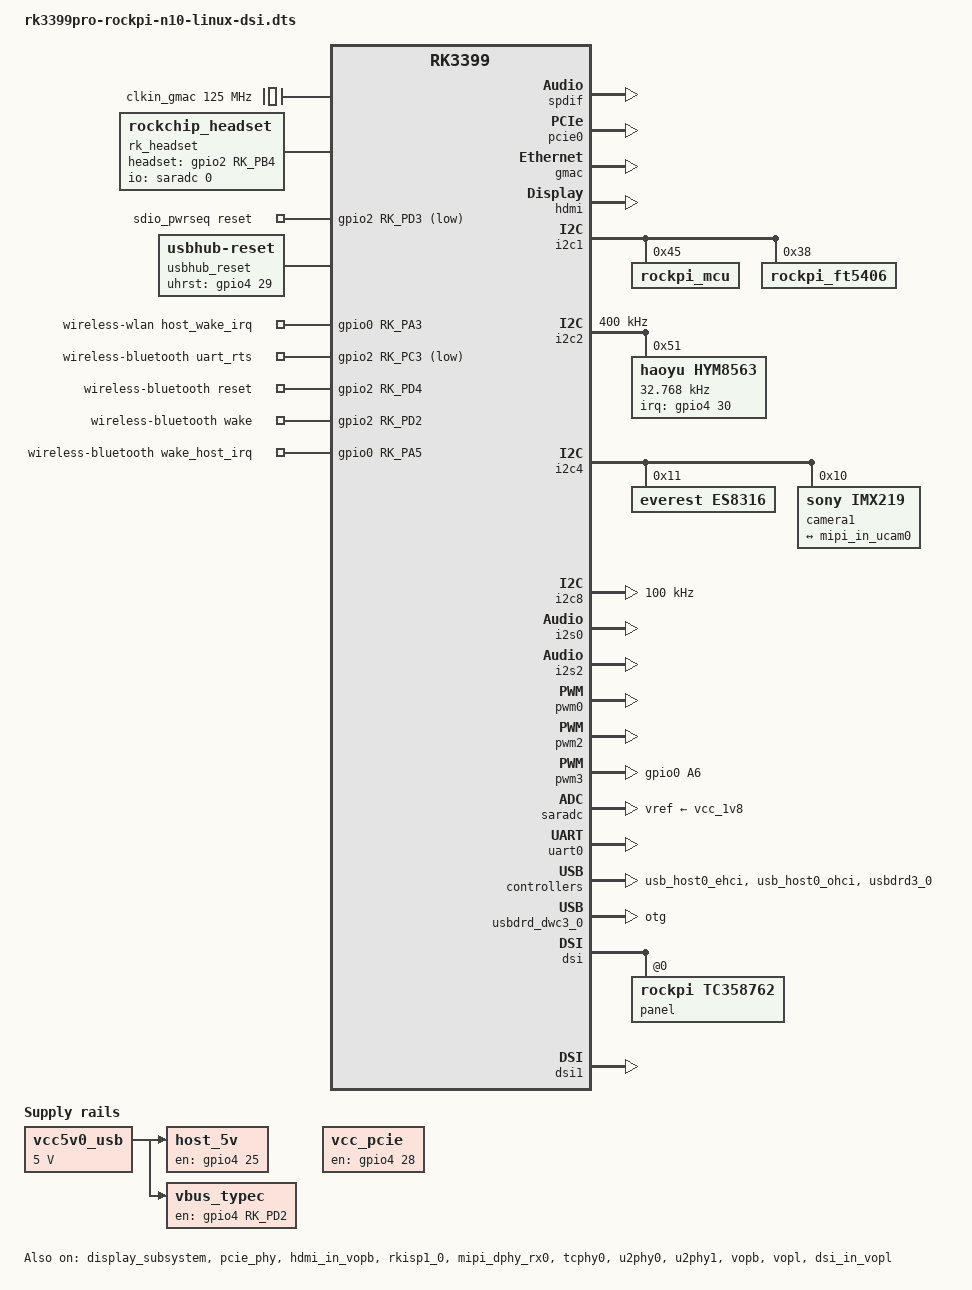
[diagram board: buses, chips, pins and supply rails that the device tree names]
// SPDX-License-Identifier: (GPL-2.0+ OR MIT)
// Copyright (c) 2018 Fuzhou Rockchip Electronics Co., Ltd

/dts-v1/;
#include "rk3399pro-vmarc-som.dtsi"
#include "rk3399-linux.dtsi"

/ {
	compatible = "rockchip,rk3399pro-ficus2-linux", "rockchip,rk3399pro";
	/delete-node/ chosen;

	clkin_gmac: external-gmac-clock {
		compatible = "fixed-clock";
		clock-frequency = <125000000>;
		clock-output-names = "clkin_gmac";
		#clock-cells = <0>;
	};

	fiq_debugger: fiq-debugger {
		compatible = "rockchip,fiq-debugger";
		rockchip,serial-id = <2>;
		rockchip,wake-irq = <0>;
		rockchip,irq-mode-enable = <0>;  /* If enable uart uses irq instead of fiq */
		rockchip,baudrate = <1500000>;  /* Only 115200 and 1500000 */
		pinctrl-names = "default";
		pinctrl-0 = <&uart2c_xfer>;
		interrupts = <GIC_SPI 150 IRQ_TYPE_LEVEL_HIGH 0>;
	};

	rk_headset {
        status = "okay";
        compatible = "rockchip_headset";
        headset_gpio = <&gpio2 RK_PB4 GPIO_ACTIVE_HIGH>;
        pinctrl-names = "default";
        pinctrl-0 = <&hp_det>;
        io-channels = <&saradc 0>;
	};

	es8316-sound {
		status = "okay";
		compatible = "simple-audio-card";
		simple-audio-card,format = "i2s";
		simple-audio-card,name = "rockchip,es8316-codec";
		simple-audio-card,mclk-fs = <256>;
		simple-audio-card,widgets =
			"Microphone", "Mic Jack",
			"Headphone", "Headphone Jack";
		simple-audio-card,routing =
			"Mic Jack", "MICBIAS1",
			"IN1P", "Mic Jack",
			"Headphone Jack", "HPOL",
			"Headphone Jack", "HPOR";
		simple-audio-card,cpu {
			sound-dai = <&i2s0>;
		};
		simple-audio-card,codec {
			sound-dai = <&es8316>;
		};
	};

	hdmi_codec: hdmi-codec {
		status = "okay";
		compatible = "simple-audio-card";
		simple-audio-card,format = "i2s";
		simple-audio-card,mclk-fs = <256>;
		simple-audio-card,name = "HDMI-CODEC";

		simple-audio-card,cpu {
			sound-dai = <&i2s2>;
		};

		simple-audio-card,codec {
			sound-dai = <&hdmi>;
		};
	};

	sdio_pwrseq: sdio-pwrseq {
		status = "okay";
		compatible = "mmc-pwrseq-simple";
		clocks = <&rk809 1>;
		clock-names = "ext_clock";
		pinctrl-names = "default";
		pinctrl-0 = <&wifi_enable_h>;

		/*
		 * On the module itself this is one of these (depending
		 * on the actual card populated):
		 * - SDIO_RESET_L_WL_REG_ON
		 * - PDN (power down when low)
		 */
		reset-gpios = <&gpio2 RK_PD3 GPIO_ACTIVE_LOW>;
	};

	vcc5v0_usb: vcc5v0-usb {
		compatible = "regulator-fixed";
		regulator-name = "vcc5v0_usb";
		regulator-always-on;
		regulator-boot-on;
		regulator-min-microvolt = <5000000>;
		regulator-max-microvolt = <5000000>;
	};

	usbhub_reset: usbhub-reset {
		compatible = "usbhub-reset";
		uhrst-gpio = <&gpio4 29 GPIO_ACTIVE_HIGH>;
	};

	host_5v: host-5v {
		compatible = "regulator-fixed";
		enable-active-high;
		gpio = <&gpio4 25 GPIO_ACTIVE_HIGH>;
		pinctrl-names = "default";
		pinctrl-0 = <&usb1_en_oc>;
		regulator-name = "host_5v";
		regulator-always-on;
		regulator-boot-on;
		vin-supply = <&vcc5v0_usb>;
	};

	vbus_typec: vbus-typec {
		compatible = "regulator-fixed";
		enable-active-high;
		gpio = <&gpio4 RK_PD2 GPIO_ACTIVE_HIGH>;
		pinctrl-names = "default";
		pinctrl-0 = <&usb0_en_oc>;
		regulator-name = "vbus_typec";
		vin-supply = <&vcc5v0_usb>;
	};

	vcc_pcie: vcc-pcie-regulator {
		compatible = "regulator-fixed";
		enable-active-high;
		gpio = <&gpio4 28 GPIO_ACTIVE_HIGH>;
		pinctrl-names = "default";
		pinctrl-0 = <&pcie_pwr>;
		regulator-name = "vcc_pcie";
		regulator-always-on;
		regulator-boot-on;
	};

	wireless-wlan {
		compatible = "wlan-platdata";
		rockchip,grf = <&grf>;
		wifi_chip_type = "ap6256";
		sdio_vref = <1800>;
		WIFI,host_wake_irq = <&gpio0 RK_PA3 GPIO_ACTIVE_HIGH>;
		status = "okay";
	};

	wireless-bluetooth {
		compatible = "bluetooth-platdata";
		clocks = <&rk809 1>;
		clock-names = "ext_clock";
		uart_rts_gpios = <&gpio2 RK_PC3 GPIO_ACTIVE_LOW>;
		pinctrl-names = "default", "rts_gpio";
		pinctrl-0 = <&uart0_rts>;
		pinctrl-1 = <&uart0_gpios>;
		BT,reset_gpio    = <&gpio2 RK_PD4 GPIO_ACTIVE_HIGH>;
		BT,wake_gpio     = <&gpio2 RK_PD2 GPIO_ACTIVE_HIGH>;
		BT,wake_host_irq = <&gpio0 RK_PA5 GPIO_ACTIVE_HIGH>;
		status = "okay";
	};
};

&spdif {
	pinctrl-0 = <&spdif_bus>;
	status = "okay";
	#sound-dai-cells = <0>;
};

&display_subsystem {
	status = "okay";
};

&dp_in_vopb {
	status = "disabled";
};

&pcie_phy {
	status = "okay";
};

&pcie0 {
	ep-gpios = <&gpio0 RK_PB4 GPIO_ACTIVE_HIGH>;
	num-lines = <4>;
	pinctrl-names = "default";
	pinctrl-0 = <&pcie_clkreqnb>;
	status = "okay";
};

&gmac {
	status = "okay";
};

&hdmi {
	status = "okay";
	#address-cells = <1>;
	#size-cells = <0>;
	#sound-dai-cells = <0>;
//	rockchip,phy-table =
//		<74250000  0x8009 0x0004 0x0272>,
//		<165000000 0x802b 0x0004 0x0209>,
//		<297000000 0x8039 0x0005 0x028d>,
//		<594000000 0x8039 0x0000 0x00f6>,
//		<000000000 0x0000 0x0000 0x0000>;
};

&hdmi_in_vopb {
	status = "okay";
};

&hdmi_in_vopl {
	status = "disabled";
};

&i2c1 {
	status = "okay";
	i2c-scl-rising-time-ns = <140>;
	i2c-scl-falling-time-ns = <30>;

	rockpi_mcu: rockpi_mcu@45 {
		compatible = "rockpi_mcu";
		reg = <0x45>;
		status = "okay";
	};

	rockpi_ft5406: rockpi_ft5406@38 {
		compatible = "rockpi_ft5406";
		reg = <0x38>;
		status = "okay";
	};
};

&rk809_rtc {
	status = "disabled";
};

&i2c2 {
	status = "okay";
	clock-frequency = <400000>;

	hym8563: hym8563@51 {
		compatible = "haoyu,hym8563";
		reg = <0x51>;
		#clock-cells = <0>;
		clock-frequency = <32768>;
		clock-output-names = "xin32k";
		pinctrl-names = "default";
		pinctrl-0 = <&hym8563_int>;
		interrupt-parent = <&gpio4>;
		interrupts = <30 IRQ_TYPE_LEVEL_LOW>;
	};
};

&i2c4 {
	status = "okay";
	i2c-scl-rising-time-ns = <300>;
	i2c-scl-falling-time-ns = <15>;

	es8316: es8316@11 {
		status = "okay";
		#sound-dai-cells = <0>;
		compatible = "everest,es8316";
		reg = <0x11>;
		clocks = <&cru SCLK_I2S_8CH_OUT>;
		clock-names = "mclk";
		pinctrl-names = "default";
		pinctrl-0 = <&i2s_8ch_mclk>;
	};

	camera1: camera-module@10 {
		status = "okay";
		compatible = "sony,imx219";
		reg = <0x10>;

		clocks = <&cru SCLK_CIF_OUT>;
		clock-names = "clk_cif_out";
		rockchip,camera-module-index = <0>;
		rockchip,camera-module-facing = "back";
		rockchip,camera-module-name = "imx219";
		rockchip,camera-module-lens-name = "none";

		port {
			ucam_out0: endpoint {
				remote-endpoint = <&mipi_in_ucam0>;
				data-lanes = <1 2>;
			};
		};
	};
};

&i2c8 {
	status = "okay";
	i2c-scl-rising-time-ns = <345>;
	i2c-scl-falling-time-ns = <11>;
	clock-frequency = <100000>;
};

&i2s0 {
	#sound-dai-cells = <0>;
	status = "okay";
};

&rk809_codec {
	status = "disabled";
};

&i2s1 {
	status = "disabled";
};

&i2s2 {
	#sound-dai-cells = <0>;
	status = "okay";
};

&isp0_mmu {
	status = "okay";
};

&pwm0 {
	status = "okay";
};

&pwm2 {
	status = "okay";
};

&pwm3 {
	status = "okay";
	pinctrl-names = "default";
	pinctrl-0 = <&pwm3a_pin>;
	interrupts = <GIC_SPI 61 IRQ_TYPE_LEVEL_HIGH 0>;
	compatible = "rockchip,remotectl-pwm";
	remote_pwm_id = <3>;
	handle_cpu_id = <1>;
	remote_support_psci = <1>;

	ir_key1 {
		rockchip,usercode = <0x4040>;
		rockchip,key_table =
			<0xf2	KEY_REPLY>,
			<0xba	KEY_BACK>,
			<0xf4	KEY_UP>,
			<0xf1	KEY_DOWN>,
			<0xef	KEY_LEFT>,
			<0xee	KEY_RIGHT>,
			<0xbd	KEY_HOME>,
			<0xea	KEY_VOLUMEUP>,
			<0xe3	KEY_VOLUMEDOWN>,
			<0xe2	KEY_SEARCH>,
			<0xb2	KEY_POWER>,
			<0xbc	KEY_MUTE>,
			<0xec	KEY_MENU>,
			<0xbf	0x190>,
			<0xe0	0x191>,
			<0xe1	0x192>,
			<0xe9	183>,
			<0xe6	248>,
			<0xe8	185>,
			<0xe7	186>,
			<0xf0	388>,
			<0xbe	0x175>;
	};

	ir_key2 {
		rockchip,usercode = <0xff00>;
		rockchip,key_table =
			<0xf9	KEY_HOME>,
			<0xbf	KEY_BACK>,
			<0xfb	KEY_MENU>,
			<0xaa	KEY_REPLY>,
			<0xb9	KEY_UP>,
			<0xe9	KEY_DOWN>,
			<0xb8	KEY_LEFT>,
			<0xea	KEY_RIGHT>,
			<0xeb	KEY_VOLUMEDOWN>,
			<0xef	KEY_VOLUMEUP>,
			<0xf7	KEY_MUTE>,
			<0xe7	KEY_POWER>,
			<0xfc	KEY_POWER>,
			<0xa9	KEY_VOLUMEDOWN>,
			<0xa8	KEY_VOLUMEDOWN>,
			<0xe0	KEY_VOLUMEDOWN>,
			<0xa5	KEY_VOLUMEDOWN>,
			<0xab	183>,
			<0xb7	388>,
			<0xf8	184>,
			<0xaf	185>,
			<0xed	KEY_VOLUMEDOWN>,
			<0xee	186>,
			<0xb3	KEY_VOLUMEDOWN>,
			<0xf1	KEY_VOLUMEDOWN>,
			<0xf2	KEY_VOLUMEDOWN>,
			<0xf3	KEY_SEARCH>,
			<0xb4	KEY_VOLUMEDOWN>,
			<0xbe	KEY_SEARCH>;
	};

	ir_key3 {
		rockchip,usercode = <0x1dcc>;
		rockchip,key_table =
			<0xee	KEY_REPLY>,
			<0xf0	KEY_BACK>,
			<0xf8	KEY_UP>,
			<0xbb	KEY_DOWN>,
			<0xef	KEY_LEFT>,
			<0xed	KEY_RIGHT>,
			<0xfc	KEY_HOME>,
			<0xf1	KEY_VOLUMEUP>,
			<0xfd	KEY_VOLUMEDOWN>,
			<0xb7	KEY_SEARCH>,
			<0xff	KEY_POWER>,
			<0xf3	KEY_MUTE>,
			<0xbf	KEY_MENU>,
			<0xf9	0x191>,
			<0xf5	0x192>,
			<0xb3	388>,
			<0xbe	KEY_1>,
			<0xba	KEY_2>,
			<0xb2	KEY_3>,
			<0xbd	KEY_4>,
			<0xf9	KEY_5>,
			<0xb1	KEY_6>,
			<0xfc	KEY_7>,
			<0xf8	KEY_8>,
			<0xb0	KEY_9>,
			<0xb6	KEY_0>,
			<0xb5	KEY_BACKSPACE>;
	};
};

&rkisp1_0 {
	status = "okay";
	port {
		#address-cells = <1>;
		#size-cells = <0>;

		isp0_mipi_in: endpoint@0 {
			reg = <0>;
			remote-endpoint = <&dphy_rx0_out>;
		};
	};
};

&mipi_dphy_rx0 {
	status = "okay";

	ports {
		#address-cells = <1>;
		#size-cells = <0>;

		port@0 {
			reg = <0>;
			#address-cells = <1>;
			#size-cells = <0>;

			mipi_in_ucam0: endpoint@1 {
				reg = <1>;
				remote-endpoint = <&ucam_out0>;
				data-lanes = <1 2>;
			};
		};

		port@1 {
			reg = <1>;
			#address-cells = <1>;
			#size-cells = <0>;

			dphy_rx0_out: endpoint@0 {
				reg = <0>;
				remote-endpoint = <&isp0_mipi_in>;
			};
		};
	};
};

&saradc {
	status = "okay";
	vref-supply = <&vcc_1v8>;
};

&sdmmc {
	sd-uhs-sdr12;
	sd-uhs-sdr25;
	sd-uhs-sdr50;
	sd-uhs-sdr104;
};

&uart0 {
	pinctrl-names = "default";
	pinctrl-0 = <&uart0_xfer &uart0_cts>;
	status = "okay";
};

&tcphy0 {
	status = "okay";
};

&u2phy0 {
	status = "okay";
//	enable-active-high;
//	gpio = <&gpio4 25 GPIO_ACTIVE_HIGH>;

	u2phy0_otg: otg-port {
		vbus-supply = <&vbus_typec>;
		status = "okay";
	};

	u2phy0_host: host-port {
		phy-supply = <&host_5v>;
		status = "okay";
	};
};

&u2phy1 {
	status = "okay";
	enable-active-high;
	gpio = <&gpio4 25 GPIO_ACTIVE_HIGH>;

	u2phy1_host: host-port {
		phy-supply = <&host_5v>;
		status = "okay";
	};
};

&uart0 {
	pinctrl-names = "default";
	pinctrl-0 = <&uart0_xfer &uart0_cts>;
	status = "okay";
};

&usb_host0_ehci {
	status = "okay";
};

&usb_host0_ohci {
	status = "okay";
};

&usbdrd3_0 {
	extcon = <&u2phy0>;
	status = "okay";
};


&usbdrd_dwc3_0 {
	dr_mode = "otg";
	status = "okay";
};

&vopb {
	status = "okay";
};

&vopb_mmu {
	status = "okay";
};

&vopl {
	status = "okay";
};

&vopl_mmu {
	status = "okay";
};

&dsi {
	status = "okay";
	rockchip,dual-channel = <&dsi1>;

	panel: panel@0 {
		compatible ="rockpi,tc358762";
		reg = <0>;
		status = "okay";
	};
};

&dsi1 {
	status = "okay";
};

&dsi_in_vopl {
	status = "okay";
};

&dsi_in_vopb {
	status = "disabled";
};

&pinctrl {
	bq2570 {
		charger_ok_int: charger-ok-int {
			rockchip,pins =
				<1 RK_PA1 0 &pcfg_pull_up>;
			};
	};

	fusb30x {
		fusb0_int: fusb0-int {
			rockchip,pins =
				<1 RK_PA2 0 &pcfg_pull_up>;
			};
	};

	hym8563 {
		hym8563_int: hym8563-int {
			rockchip,pins =
				<4 RK_PD6 0 &pcfg_pull_up>;
		};
	};
	headphone {
		hp_det: hp-det {
			rockchip,pins =
				<2 RK_PB4 0 &pcfg_pull_down_12ma>;
		};
	};

	sdio-pwrseq {
		wifi_enable_h: wifi-enable-h {
			rockchip,pins =
				<2 RK_PD3 0 &pcfg_pull_none>;
		};
	};

	host_5v {
		usb1_en_oc: usb1-en-oc {
			rockchip,pins =
				<4 25 RK_FUNC_GPIO &pcfg_pull_up_10ma>;
		};
	};

	vbus_typec {
		usb0_en_oc: usb0-en-oc {
			rockchip,pins =
				<4 RK_PD2 RK_FUNC_GPIO &pcfg_pull_up_10ma>;
		};
	};

	pcie {
		pcie_pwr: pcie-pwr{
			rockchip,pins =
				<4 28 RK_FUNC_GPIO &pcfg_pull_up>;
		};
	};

	sdmmc {
		sdmmc_bus1: sdmmc-bus1 {
			rockchip,pins =
				<4 8 RK_FUNC_1 &pcfg_pull_up_10ma>;
		};

		sdmmc_bus4: sdmmc-bus4 {
			rockchip,pins =
				<4 8 RK_FUNC_1 &pcfg_pull_up_10ma>,
				<4 9 RK_FUNC_1 &pcfg_pull_up_10ma>,
				<4 10 RK_FUNC_1 &pcfg_pull_up_10ma>,
				<4 11 RK_FUNC_1 &pcfg_pull_up_10ma>;
		};

		sdmmc_clk: sdmmc-clk {
			rockchip,pins =
				<4 12 RK_FUNC_1 &pcfg_pull_none_10ma>;
		};

		sdmmc_cmd: sdmmc-cmd {
			rockchip,pins =
				<4 13 RK_FUNC_1 &pcfg_pull_up_10ma>;
		};
	};

	tp_irq {
		tp_irq_gpio: tp-irq-gpio {
			rockchip,pins =
				<3 RK_PB0 0 &pcfg_pull_up>;
		};
	};

	wireless-bluetooth {
		uart0_gpios: uart0-gpios {
			rockchip,pins =
				<2 RK_PC3 0 &pcfg_pull_none>;
		};
	};

	pwm3a {
		pwm3a_pin: pwm3a-pin {
			rockchip,pins =
				<0 RK_PA6 RK_FUNC_1 &pcfg_pull_none>;
		};
	};

	lcd {
		lcd_rst_gpio: lcd_rst_gpio {
			rockchip,pins =
				<4 27 RK_FUNC_GPIO &pcfg_pull_none>;// eDP
		};
	};
};

/* DON'T PUT ANYTHING BELOW HERE.  PUT IT ABOVE PINCTRL */
/* DON'T PUT ANYTHING BELOW HERE.  PUT IT ABOVE PINCTRL */
/* DON'T PUT ANYTHING BELOW HERE.  PUT IT ABOVE PINCTRL */
